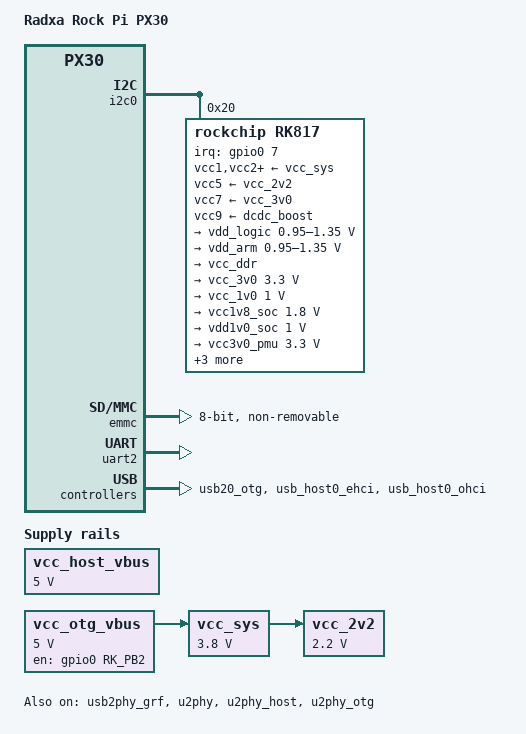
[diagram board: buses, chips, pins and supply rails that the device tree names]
/*
 * (C) Copyright 2017 Rockchip Electronics Co., Ltd
 *
 * SPDX-License-Identifier:     GPL-2.0+
 */

/dts-v1/;
#include "px30.dtsi"
#include "px30-u-boot.dtsi"
#include <dt-bindings/input/input.h>

/ {
	model = "Radxa Rock Pi PX30";
	compatible = "radxa,rock-pi-px30", "rockchip,px30";

	vcc_host_vbus: otg-host-regulator {
		compatible = "regulator-fixed";
		regulator-name = "vcc_host_vbus";
		regulator-min-microvolt = <5000000>;
		regulator-max-microvolt = <5000000>;
		regulator-always-on;
		regulator-boot-on;
		enable-active-high;
	};

	vcc_otg_vbus: otg-vbus-regulator {
		compatible = "regulator-fixed";
		gpio = <&gpio0 RK_PB2 GPIO_ACTIVE_HIGH>;
		pinctrl-names = "default";
		pinctrl-0 = <&otg_vbus_drv>;
		regulator-name = "vcc_otg_vbus";
		regulator-min-microvolt = <5000000>;
		regulator-max-microvolt = <5000000>;
		regulator-always-on;
		regulator-boot-on;
		enable-active-high;
	};

	vcc_sys: vccsys {
		compatible = "regulator-fixed";
		regulator-name = "vcc_sys";
		regulator-always-on;
		regulator-boot-on;
		regulator-min-microvolt = <3800000>;
		regulator-max-microvolt = <3800000>;
		vin-supply = <&vcc_otg_vbus>;
	};

	vcc_2v2: vcc2v2 {
		compatible = "regulator-fixed";
		regulator-name = "vcc_2v2";
		regulator-always-on;
		regulator-boot-on;
		regulator-min-microvolt = <2200000>;
		regulator-max-microvolt = <2200000>;
		vin-supply = <&vcc_sys>;
	};
};

&i2c0 {
	status = "okay";

	rk817: pmic@20 {
		compatible = "rockchip,rk817";
		reg = <0x20>;
		interrupt-parent = <&gpio0>;
		interrupts = <7 IRQ_TYPE_LEVEL_LOW>;
		pinctrl-names = "default", "pmic-sleep";
				//"pmic-power-off", "pmic-reset";
		pinctrl-0 = <&pmic_int>;
		pinctrl-1 = <&soc_slppin_slp>, <&rk817_slppin_slp>;
		//pinctrl-2 = <&soc_slppin_gpio>, <&rk817_slppin_pwrdn>;
		//pinctrl-3 = <&soc_slppin_rst>, <&rk817_slppin_rst>;
		rockchip,system-power-controller;
		wakeup-source;
		#clock-cells = <1>;
		clock-output-names = "rk808-clkout1", "rk808-clkout2";
		//fb-inner-reg-idxs = <2>;
		/* 1: rst regs (default in codes), 0: rst the pmic */
		pmic-reset-func = <1>;

		vcc1-supply = <&vcc_sys>;
		vcc2-supply = <&vcc_sys>;
		vcc3-supply = <&vcc_sys>;
		vcc4-supply = <&vcc_sys>;
		vcc5-supply = <&vcc_2v2>;
		vcc6-supply = <&vcc_sys>;
		vcc7-supply = <&vcc_3v0>;
		vcc8-supply = <&vcc_sys>;
		vcc9-supply = <&dcdc_boost>;

		pwrkey {
			status = "okay";
		};

		pinctrl_rk8xx: pinctrl_rk8xx {
			gpio-controller;
			#gpio-cells = <2>;

			rk817_ts_gpio1: rk817_ts_gpio1 {
				pins = "gpio_ts";
				function = "pin_fun1";
				/* output-low; */
				/* input-enable; */
			};

			rk817_gt_gpio2: rk817_gt_gpio2 {
				pins = "gpio_gt";
				function = "pin_fun1";
			};

			rk817_pin_ts: rk817_pin_ts {
				pins = "gpio_ts";
				function = "pin_fun0";
			};

			rk817_pin_gt: rk817_pin_gt {
				pins = "gpio_gt";
				function = "pin_fun0";
			};

			rk817_slppin_null: rk817_slppin_null {
				pins = "gpio_slp";
				function = "pin_fun0";
			};

			rk817_slppin_slp: rk817_slppin_slp {
				pins = "gpio_slp";
				function = "pin_fun1";
			};

			rk817_slppin_pwrdn: rk817_slppin_pwrdn {
				pins = "gpio_slp";
				function = "pin_fun2";
			};

			rk817_slppin_rst: rk817_slppin_rst {
				pins = "gpio_slp";
				function = "pin_fun3";
			};
		};

		regulators {
			vdd_logic: DCDC_REG1 {
				regulator-always-on;
				regulator-boot-on;
				regulator-min-microvolt = <950000>;
				regulator-max-microvolt = <1350000>;
				regulator-ramp-delay = <6001>;
				regulator-initial-mode = <0x2>;
				regulator-name = "vdd_logic";
				regulator-state-mem {
					regulator-on-in-suspend;
					regulator-suspend-microvolt = <950000>;
				};
			};

			vdd_arm: DCDC_REG2 {
				regulator-always-on;
				regulator-boot-on;
				regulator-min-microvolt = <950000>;
				regulator-max-microvolt = <1350000>;
				regulator-ramp-delay = <6001>;
				regulator-initial-mode = <0x2>;
				regulator-name = "vdd_arm";
				regulator-state-mem {
					regulator-off-in-suspend;
					regulator-suspend-microvolt = <950000>;
				};
			};

			vcc_ddr: DCDC_REG3 {
				regulator-always-on;
				regulator-boot-on;
				regulator-initial-mode = <0x2>;
				regulator-name = "vcc_ddr";
				regulator-state-mem {
					regulator-on-in-suspend;
				};
			};

			vcc_3v0: DCDC_REG4 {
				regulator-always-on;
				regulator-boot-on;
				regulator-min-microvolt = <3300000>;
				regulator-max-microvolt = <3300000>;
				regulator-initial-mode = <0x2>;
				regulator-name = "vcc_3v0";
				regulator-state-mem {
					regulator-off-in-suspend;
					regulator-suspend-microvolt = <3300000>;
				};
			};

			vcc_1v0: LDO_REG1 {
				regulator-always-on;
				regulator-boot-on;
				regulator-min-microvolt = <1000000>;
				regulator-max-microvolt = <1000000>;
				regulator-name = "vcc_1v0";
				regulator-state-mem {
					regulator-off-in-suspend;
					regulator-suspend-microvolt = <1000000>;
				};
			};

			vcc1v8_soc: LDO_REG2 {
				regulator-always-on;
				regulator-boot-on;
				regulator-min-microvolt = <1800000>;
				regulator-max-microvolt = <1800000>;
				regulator-name = "vcc1v8_soc";
				regulator-state-mem {
					regulator-on-in-suspend;
					regulator-suspend-microvolt = <1800000>;
				};
			};

			vdd1v0_soc: LDO_REG3 {
				regulator-always-on;
				regulator-boot-on;
				regulator-min-microvolt = <1000000>;
				regulator-max-microvolt = <1000000>;
				regulator-name = "vdd1v0_soc";
				regulator-state-mem {
					regulator-on-in-suspend;
					regulator-suspend-microvolt = <1000000>;
				};
			};

			vcc3v0_pmu: LDO_REG4 {
				regulator-always-on;
				regulator-boot-on;
				regulator-min-microvolt = <3300000>;
				regulator-max-microvolt = <3300000>;
				regulator-name = "vcc3v0_pmu";
				regulator-state-mem {
					regulator-on-in-suspend;
					regulator-suspend-microvolt = <3300000>;
				};
			};

			vccio_sd: LDO_REG5 {
				regulator-always-on;
				regulator-boot-on;
				regulator-min-microvolt = <1800000>;
				regulator-max-microvolt = <3300000>;
				regulator-name = "vccio_sd";
				regulator-state-mem {
					regulator-off-in-suspend;
					regulator-suspend-microvolt = <3300000>;
				};
			};

			vcc_sd: LDO_REG6 {
				regulator-always-on;
				regulator-boot-on;
				regulator-min-microvolt = <3300000>;
				regulator-max-microvolt = <3300000>;
				regulator-name = "vcc_sd";
				regulator-state-mem {
					regulator-on-in-suspend;
					regulator-suspend-microvolt = <3300000>;
				};
			};

			vcc2v8_dvp: LDO_REG7 {
				regulator-boot-on;
				regulator-min-microvolt = <2800000>;
				regulator-max-microvolt = <2800000>;
				regulator-name = "vcc2v8_dvp";
				regulator-state-mem {
					regulator-off-in-suspend;
					regulator-suspend-microvolt = <2800000>;
				};
			};

			vcc1v8_dvp: LDO_REG8 {
				regulator-boot-on;
				regulator-min-microvolt = <1800000>;
				regulator-max-microvolt = <1800000>;
				regulator-name = "vcc1v8_dvp";
				regulator-state-mem {
					regulator-off-in-suspend;
					regulator-suspend-microvolt = <1800000>;
				};
			};

			vcc3v3_lcd: LDO_REG9 {
				regulator-boot-on;
				regulator-min-microvolt = <3300000>;
				regulator-max-microvolt = <3300000>;
				regulator-name = "vdd3v3_lcd";
				regulator-state-mem {
					regulator-off-in-suspend;
					regulator-suspend-microvolt = <3300000>;
				};
			};

			dcdc_boost: BOOST {
				regulator-always-on;
				regulator-boot-on;
				regulator-min-microvolt = <4700000>;
				regulator-max-microvolt = <5400000>;
				regulator-name = "boost";
			};

			otg_switch: OTG_SWITCH {
				regulator-boot-on;
				regulator-name = "otg_switch";
			};
		};
	};
};

&emmc {
	u-boot,dm-pre-reloc;
	fifo-mode;
	bus-width = <8>;
	cap-mmc-highspeed;
	mmc-hs200-1_8v;
	supports-emmc;
	disable-wp;
	non-removable;
	num-slots = <1>;
	pinctrl-names = "default";
	pinctrl-0 = <&emmc_clk &emmc_cmd &emmc_bus8>;
	status = "okay";
};

&uart2 {
	status = "okay";
};

&pinctrl {
	pmic {
		pmic_int: pmic_int {
			rockchip,pins =
				<0 RK_PA7 RK_FUNC_GPIO &pcfg_pull_up>;
		};

		soc_slppin_gpio: soc_slppin_gpio {
			rockchip,pins =
				<0 RK_PA4 RK_FUNC_GPIO &pcfg_output_low>;
		};

		soc_slppin_slp: soc_slppin_slp {
			rockchip,pins =
				<0 RK_PA4 RK_FUNC_1 &pcfg_pull_none>;
		};

		soc_slppin_rst: soc_slppin_rst {
			rockchip,pins =
				<0 RK_PA4 RK_FUNC_2 &pcfg_pull_none>;
		};
	};

    usb {
		otg_vbus_drv: otg-vbus-drv {
			rockchip,pins =
				<0 RK_PB2 RK_FUNC_GPIO &pcfg_pull_none>;
		};
	};
};

&usb2phy_grf {
	u-boot,dm-pre-reloc;
	status = "okay";
};

&u2phy {
	u-boot,dm-pre-reloc;
	status = "okay";
};

&u2phy_host {
	u-boot,dm-pre-reloc;
	status = "okay";
};

&u2phy_otg {
	u-boot,dm-pre-reloc;
	status = "okay";
};

&usb20_otg {
	u-boot,dm-pre-reloc;
	status = "okay";
};

&usb_host0_ehci {
	u-boot,dm-pre-reloc;
	status = "okay";
};

&usb_host0_ohci {
	u-boot,dm-pre-reloc;
	status = "okay";
};
